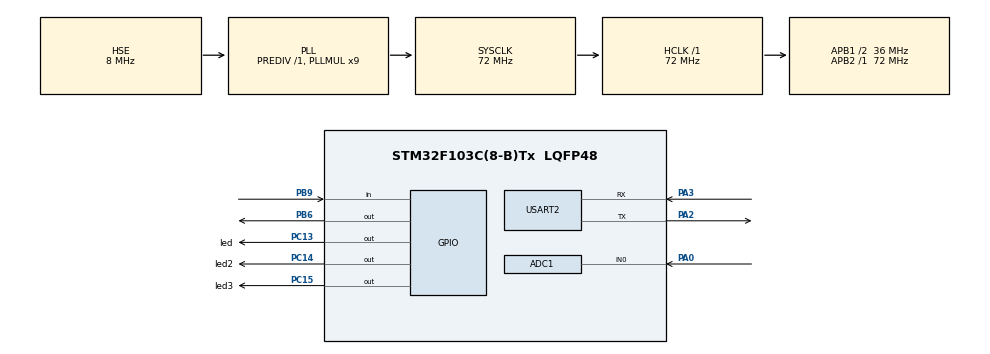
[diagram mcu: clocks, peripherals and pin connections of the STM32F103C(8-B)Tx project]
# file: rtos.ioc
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ADC1.Channel-0\#ChannelRegularConversion=ADC_CHANNEL_0
ADC1.ContinuousConvMode=ENABLE
ADC1.EnableAnalogWatchDog=true
ADC1.EnableInjectedConversion=DISABLE
ADC1.NbrOfConversionFlag=1
ADC1.Rank-0\#ChannelRegularConversion=1
ADC1.SamplingTime-0\#ChannelRegularConversion=ADC_SAMPLETIME_1CYCLE_5
ADC1.master=1
FREERTOS.Tasks01=defaultTask,0,128,StartDefaultTask,Default,NULL,Dynamic,NULL,NULL;task2,0,128,Startledtask,Default,NULL,Dynamic,NULL,NULL;task3,2,128,Startbutontask,Default,NULL,Dynamic,NULL,NULL;task04,0,128,StartTask04,Default,NULL,Dynamic,NULL,NULL
Mcu.Family=STM32F1
Mcu.Name=STM32F103C(8-B)Tx
Mcu.Package=LQFP48
NVIC.PriorityGroup=NVIC_PRIORITYGROUP_4
NVIC.TIM1_UP_IRQn=true\:15\:0\:false\:false\:true\:false\:false\:true\:true
NVIC.TimeBase=TIM1_UP_IRQn
NVIC.TimeBaseIP=TIM1
PA0-WKUP.Signal=ADCx_IN0
PA13.Mode=Serial_Wire
PA13.Signal=SYS_JTMS-SWDIO
PA14.Mode=Serial_Wire
PA14.Signal=SYS_JTCK-SWCLK
PA2.Mode=Asynchronous
PA2.Signal=USART2_TX
PA3.Mode=Asynchronous
PA3.Signal=USART2_RX
PB6.Signal=GPIO_Output
PB9.GPIO_PuPd=GPIO_PULLUP
PB9.Signal=GPIO_Input
PC13-TAMPER-RTC.GPIO_Label=led
PC13-TAMPER-RTC.Signal=GPIO_Output
PC14-OSC32_IN.GPIO_Label=led2
PC14-OSC32_IN.Signal=GPIO_Output
PC15-OSC32_OUT.GPIO_Label=led3
PC15-OSC32_OUT.Signal=GPIO_Output
PD0-OSC_IN.Mode=HSE-External-Oscillator
PD0-OSC_IN.Signal=RCC_OSC_IN
PD1-OSC_OUT.Mode=HSE-External-Oscillator
PD1-OSC_OUT.Signal=RCC_OSC_OUT
ProjectManager.HeapSize=0x200
ProjectManager.StackSize=0x400
ProjectManager.TargetToolchain=MDK-ARM V5.32
RCC.ADCPresc=RCC_ADCPCLK2_DIV6
RCC.AHBFreq_Value=72000000
RCC.APB1CLKDivider=RCC_HCLK_DIV2
RCC.APB1Freq_Value=36000000
RCC.APB1TimFreq_Value=72000000
RCC.APB2Freq_Value=72000000
RCC.APB2TimFreq_Value=72000000
RCC.HCLKFreq_Value=72000000
RCC.PLLMUL=RCC_PLL_MUL9
RCC.PLLSourceVirtual=RCC_PLLSOURCE_HSE
RCC.SYSCLKFreq_VALUE=72000000
RCC.SYSCLKSource=RCC_SYSCLKSOURCE_PLLCLK
RCC.USBFreq_Value=72000000
SH.ADCx_IN0.0=ADC1_IN0,IN0
USART2.VirtualMode=VM_ASYNC
VP_FREERTOS_VS_CMSIS_V1.Mode=CMSIS_V1
VP_SYS_VS_tim1.Mode=TIM1
board=custom

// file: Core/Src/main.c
/* USER CODE BEGIN Header */
/**
  ******************************************************************************
  * @file           : main.c
  * @brief          : Main program body
  ******************************************************************************
  * @attention
  *
  * Copyright (c) 2024 STMicroelectronics.
  * All rights reserved.
  *
  * This software is licensed under terms that can be found in the LICENSE file
  * in the root directory of this software component.
  * If no LICENSE file comes with this software, it is provided AS-IS.
  *
  ******************************************************************************
  */
/* USER CODE END Header */
#include "main.h"
#include "cmsis_os.h"
#include "stdio.h"
#include "string.h"

ADC_HandleTypeDef hadc1;

UART_HandleTypeDef huart2;

osThreadId defaultTaskHandle;
osThreadId task2Handle;
osThreadId task3Handle;
osThreadId task04Handle;

void SystemClock_Config(void);
static void MX_GPIO_Init(void);
static void MX_ADC1_Init(void);
static void MX_USART2_UART_Init(void);
void StartDefaultTask(void const * argument);
void Startledtask(void const * argument);
void Startbutontask(void const * argument);
void StartTask04(void const * argument);

/* USER CODE BEGIN 0 */

uint32_t adc_value = 0;
volatile uint8_t led_status = 0;  // LED status (0 = off, 1 = on)
uint8_t button_pressed = 0;

/* USER CODE END 0 */

int main(void)
{

  /* MCU Configuration--------------------------------------------------------*/

  /* Reset of all peripherals, Initializes the Flash interface and the Systick. */
  HAL_Init();

  /* Configure the system clock */
  SystemClock_Config();

  /* Initialize all configured peripherals */
  MX_GPIO_Init();
  MX_ADC1_Init();
  MX_USART2_UART_Init();

  /* Create the thread(s) */
  /* definition and creation of defaultTask */
  osThreadDef(defaultTask, StartDefaultTask, osPriorityNormal, 0, 128);
  defaultTaskHandle = osThreadCreate(osThread(defaultTask), NULL);

  /* definition and creation of task2 */
  osThreadDef(task2, Startledtask, osPriorityNormal, 0, 128);
  task2Handle = osThreadCreate(osThread(task2), NULL);

  /* definition and creation of task3 */
  osThreadDef(task3, Startbutontask, osPriorityNormal, 0, 128);
  task3Handle = osThreadCreate(osThread(task3), NULL);

  /* definition and creation of task04 */
  osThreadDef(task04, StartTask04, osPriorityNormal, 0, 128);
  task04Handle = osThreadCreate(osThread(task04), NULL);

  /* Start scheduler */
  osKernelStart();

  /* We should never get here as control is now taken by the scheduler */

  /* Infinite loop */
  while (1)
  {

  }
}

void SystemClock_Config(void)
{
  RCC_OscInitTypeDef RCC_OscInitStruct = {0};
  RCC_ClkInitTypeDef RCC_ClkInitStruct = {0};
  RCC_PeriphCLKInitTypeDef PeriphClkInit = {0};

  /** Initializes the RCC Oscillators according to the specified parameters
  * in the RCC_OscInitTypeDef structure.
  */
  RCC_OscInitStruct.OscillatorType = RCC_OSCILLATORTYPE_HSE;
  RCC_OscInitStruct.HSEState = RCC_HSE_ON;
  RCC_OscInitStruct.HSEPredivValue = RCC_HSE_PREDIV_DIV1;
  RCC_OscInitStruct.HSIState = RCC_HSI_ON;
  RCC_OscInitStruct.PLL.PLLState = RCC_PLL_ON;
  RCC_OscInitStruct.PLL.PLLSource = RCC_PLLSOURCE_HSE;
  RCC_OscInitStruct.PLL.PLLMUL = RCC_PLL_MUL9;
  if (HAL_RCC_OscConfig(&RCC_OscInitStruct) != HAL_OK)
  {
    Error_Handler();
  }

  /** Initializes the CPU, AHB and APB buses clocks
  */
  RCC_ClkInitStruct.ClockType = RCC_CLOCKTYPE_HCLK|RCC_CLOCKTYPE_SYSCLK
                              |RCC_CLOCKTYPE_PCLK1|RCC_CLOCKTYPE_PCLK2;
  RCC_ClkInitStruct.SYSCLKSource = RCC_SYSCLKSOURCE_PLLCLK;
  RCC_ClkInitStruct.AHBCLKDivider = RCC_SYSCLK_DIV1;
  RCC_ClkInitStruct.APB1CLKDivider = RCC_HCLK_DIV2;
  RCC_ClkInitStruct.APB2CLKDivider = RCC_HCLK_DIV1;

  if (HAL_RCC_ClockConfig(&RCC_ClkInitStruct, FLASH_LATENCY_2) != HAL_OK)
  {
    Error_Handler();
  }
  PeriphClkInit.PeriphClockSelection = RCC_PERIPHCLK_ADC;
  PeriphClkInit.AdcClockSelection = RCC_ADCPCLK2_DIV6;
  if (HAL_RCCEx_PeriphCLKConfig(&PeriphClkInit) != HAL_OK)
  {
    Error_Handler();
  }
}

static void MX_ADC1_Init(void)
{

  ADC_AnalogWDGConfTypeDef AnalogWDGConfig = {0};
  ADC_ChannelConfTypeDef sConfig = {0};

  /** Common config
  */
  hadc1.Instance = ADC1;
  hadc1.Init.ScanConvMode = ADC_SCAN_DISABLE;
  hadc1.Init.ContinuousConvMode = ENABLE;
  hadc1.Init.DiscontinuousConvMode = DISABLE;
  hadc1.Init.ExternalTrigConv = ADC_SOFTWARE_START;
  hadc1.Init.DataAlign = ADC_DATAALIGN_RIGHT;
  hadc1.Init.NbrOfConversion = 1;
  if (HAL_ADC_Init(&hadc1) != HAL_OK)
  {
    Error_Handler();
  }

  /** Configure Analog WatchDog 1
  */
  AnalogWDGConfig.WatchdogMode = ADC_ANALOGWATCHDOG_SINGLE_REG;
  AnalogWDGConfig.HighThreshold = 0;
  AnalogWDGConfig.LowThreshold = 0;
  AnalogWDGConfig.Channel = ADC_CHANNEL_0;
  AnalogWDGConfig.ITMode = DISABLE;
  if (HAL_ADC_AnalogWDGConfig(&hadc1, &AnalogWDGConfig) != HAL_OK)
  {
    Error_Handler();
  }

  /** Configure Regular Channel
  */
  sConfig.Channel = ADC_CHANNEL_0;
  sConfig.Rank = ADC_REGULAR_RANK_1;
  sConfig.SamplingTime = ADC_SAMPLETIME_1CYCLE_5;
  if (HAL_ADC_ConfigChannel(&hadc1, &sConfig) != HAL_OK)
  {
    Error_Handler();
  }

}

static void MX_USART2_UART_Init(void)
{

  huart2.Instance = USART2;
  huart2.Init.BaudRate = 115200;
  huart2.Init.WordLength = UART_WORDLENGTH_8B;
  huart2.Init.StopBits = UART_STOPBITS_1;
  huart2.Init.Parity = UART_PARITY_NONE;
  huart2.Init.Mode = UART_MODE_TX_RX;
  huart2.Init.HwFlowCtl = UART_HWCONTROL_NONE;
  huart2.Init.OverSampling = UART_OVERSAMPLING_16;
  if (HAL_UART_Init(&huart2) != HAL_OK)
  {
    Error_Handler();
  }

}

static void MX_GPIO_Init(void)
{
  GPIO_InitTypeDef GPIO_InitStruct = {0};

  /* GPIO Ports Clock Enable */
  __HAL_RCC_GPIOC_CLK_ENABLE();
  __HAL_RCC_GPIOD_CLK_ENABLE();
  __HAL_RCC_GPIOA_CLK_ENABLE();
  __HAL_RCC_GPIOB_CLK_ENABLE();

  /*Configure GPIO pin Output Level */
  HAL_GPIO_WritePin(GPIOC, led_Pin|led2_Pin|led3_Pin, GPIO_PIN_RESET);

  /*Configure GPIO pin Output Level */
  HAL_GPIO_WritePin(GPIOB, GPIO_PIN_6, GPIO_PIN_RESET);

  /*Configure GPIO pins : led_Pin led2_Pin led3_Pin */
  GPIO_InitStruct.Pin = led_Pin|led2_Pin|led3_Pin;
  GPIO_InitStruct.Mode = GPIO_MODE_OUTPUT_PP;
  GPIO_InitStruct.Pull = GPIO_NOPULL;
  GPIO_InitStruct.Speed = GPIO_SPEED_FREQ_LOW;
  HAL_GPIO_Init(GPIOC, &GPIO_InitStruct);

  /*Configure GPIO pin : PB6 */
  GPIO_InitStruct.Pin = GPIO_PIN_6;
  GPIO_InitStruct.Mode = GPIO_MODE_OUTPUT_PP;
  GPIO_InitStruct.Pull = GPIO_NOPULL;
  GPIO_InitStruct.Speed = GPIO_SPEED_FREQ_LOW;
  HAL_GPIO_Init(GPIOB, &GPIO_InitStruct);

  /*Configure GPIO pin : PB9 */
  GPIO_InitStruct.Pin = GPIO_PIN_9;
  GPIO_InitStruct.Mode = GPIO_MODE_INPUT;
  GPIO_InitStruct.Pull = GPIO_PULLUP;
  HAL_GPIO_Init(GPIOB, &GPIO_InitStruct);

}

void StartDefaultTask(void const * argument)
{
  /* USER CODE BEGIN 5 */
	HAL_ADC_Start(&hadc1);
  /* Infinite loop */
  for(;;)
  {
		 if (HAL_ADC_PollForConversion(&hadc1, HAL_MAX_DELAY) == HAL_OK) {
      adc_value = HAL_ADC_GetValue(&hadc1);}
		//send_deftask();
    osDelay(500);
  }
  /* USER CODE END 5 */
}

void Startledtask(void const * argument)
{
  /* USER CODE BEGIN Startledtask */
	char msg[50];
  /* Infinite loop */
  for(;;)
  {
		 float voltage = (adc_value / 4095.0) * 3.3;
     snprintf(msg, sizeof(msg), "ADC Value: %u, Voltage: %.2fV\r\n",adc_value, voltage);

        // Kirim data melalui UART
        HAL_UART_Transmit(&huart2, (uint8_t*)msg, strlen(msg), HAL_MAX_DELAY);
		//send_task2();
    osDelay(1000);
  }
  /* USER CODE END Startledtask */
}

void Startbutontask(void const * argument)
{
  /* USER CODE BEGIN Startbutontask */
	 uint8_t last_button_state = 1;
   uint32_t debounce_time = 0;
  /* Infinite loop */
  for(;;)
  {
		 uint8_t button_state = HAL_GPIO_ReadPin(GPIOB, GPIO_PIN_9);  // Baca status tombol

        // Deteksi perubahan tombol dengan debounce
        if (button_state == GPIO_PIN_RESET && last_button_state == GPIO_PIN_SET && HAL_GetTick() - debounce_time > 200) {
            debounce_time = HAL_GetTick();
            // Toggle LED setiap kali tombol ditekan
            led_status = !led_status;

        }
        last_button_state = button_state;
    osDelay(500);
  }
  /* USER CODE END Startbutontask */
}

void StartTask04(void const * argument)
{
  /* USER CODE BEGIN StartTask04 */
  /* Infinite loop */
  for(;;)
  {
		 HAL_GPIO_WritePin(GPIOC, GPIO_PIN_14, led_status ? GPIO_PIN_SET : GPIO_PIN_RESET);

        // Kirim status LED ke UART
        if (led_status) {
            HAL_UART_Transmit(&huart2, (uint8_t *)"LED ON\r\n", strlen("LED ON\r\n"), HAL_MAX_DELAY);
        } else {
            HAL_UART_Transmit(&huart2, (uint8_t *)"LED OFF\r\n", strlen("LED OFF\r\n"), HAL_MAX_DELAY);
        }

    osDelay(500);
  }
  /* USER CODE END StartTask04 */
}

void HAL_TIM_PeriodElapsedCallback(TIM_HandleTypeDef *htim)
{
  if (htim->Instance == TIM1) {
    HAL_IncTick();
  }
}

void Error_Handler(void)
{
  __disable_irq();
  while (1)
  {
  }
}
